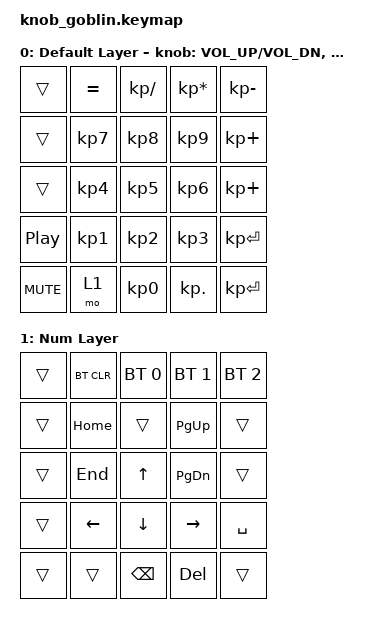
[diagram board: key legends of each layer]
/*
 * Copyright (c) 2022 The ZMK Contributors
 *
 * SPDX-License-Identifier: MIT
 */

#include <behaviors.dtsi>
#include <dt-bindings/zmk/keys.h>
#include <dt-bindings/zmk/bt.h>

/ {
    keymap {
        compatible = "zmk,keymap";

        default_layer {
            display-name = "Default Layer";

            bindings = <
    &trans           &kp EQUAL       &kp KP_SLASH    &kp KP_MULTIPLY &kp KP_MINUS
    &trans           &kp KP_NUMBER_7 &kp KP_NUMBER_8 &kp KP_NUMBER_9 &kp KP_PLUS
    &trans           &kp KP_NUMBER_4 &kp KP_NUMBER_5 &kp KP_NUMBER_6 &kp KP_PLUS
    &kp C_PLAY_PAUSE &kp KP_NUMBER_1 &kp KP_NUMBER_2 &kp KP_NUMBER_3 &kp KP_ENTER
    &kp C_MUTE       &mo 1           &kp KP_NUMBER_0 &kp KP_DOT      &kp KP_ENTER
            >;

            sensor-bindings = <&inc_dec_kp C_VOL_UP C_VOL_DN &inc_dec_kp PG_UP PG_DN>;
        };

        num_layer {
            display-name = "Num Layer";
            bindings = <
    &trans   &bt BT_CLR      &bt BT_SEL 0   &bt BT_SEL 1     &bt BT_SEL 2
    &trans   &kp HOME        &trans         &kp PAGE_UP      &trans
    &trans   &kp END         &kp UP_ARROW   &kp PAGE_DOWN    &trans
    &trans   &kp LEFT_ARROW  &kp DOWN_ARROW &kp RIGHT_ARROW  &kp SPACE
    &trans   &trans          &kp BACKSPACE  &kp DELETE       &trans
            >;

        };
    };
};

